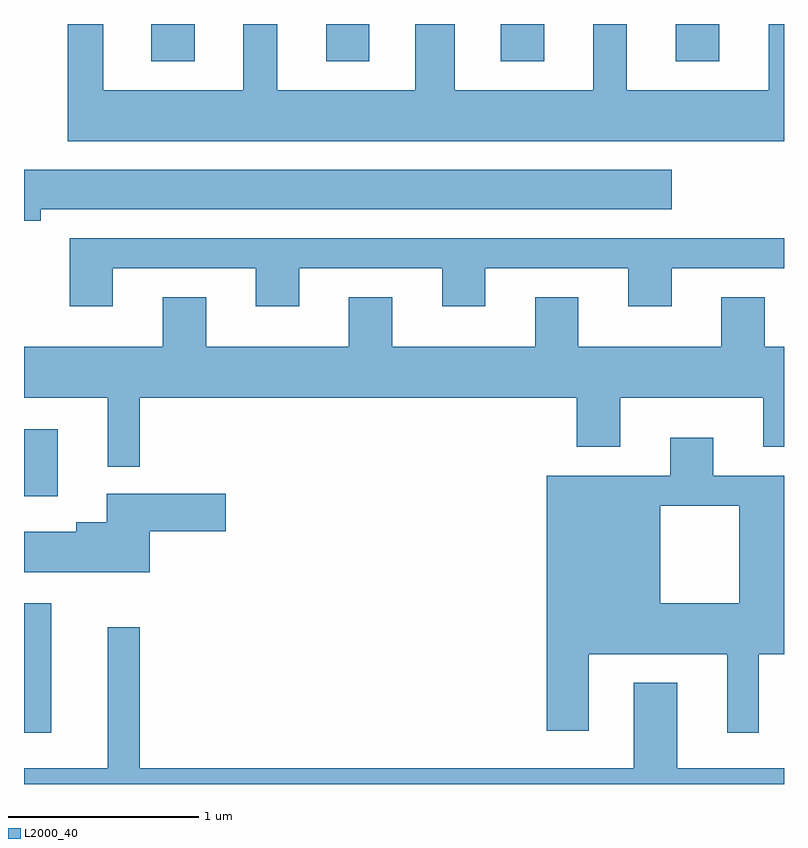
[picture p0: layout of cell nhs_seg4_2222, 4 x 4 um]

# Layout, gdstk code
import gdstk
lib = gdstk.Library(unit=1e-6, precision=1e-09)
def R(c, l, rs):  # rectangles x0, y0, x1, y1
    for r in rs: c.add(gdstk.rectangle(r[:2], r[2:], *l))
def A(c, l, x, y, w, h, nx, ny, dx, dy):  # array of equal rectangles
    R(c, l, [(x+i*dx, y+j*dy, x+i*dx+w, y+j*dy+h) for i in range(nx) for j in range(ny)])
def P(c, l, *ps):  # polygons
    for p in ps: c.add(gdstk.Polygon(p, *l))
L2000_40 = (2000, 40)

nhs_seg4_2222 = lib.new_cell('nhs_seg4_2222')
A(nhs_seg4_2222, L2000_40, 250.281, 1349.786, 0.228, 0.196, 4, 1, 0.92, 0)
R(nhs_seg4_2222, L2000_40, [(249.611,1346.253,249.754,1346.934), (249.611,1347.496,249.789,1347.849)])
P(nhs_seg4_2222, L2000_40, [(253.611,1349.982),(253.531,1349.982),(253.531,1349.634),(252.784,1349.634),(252.784,1349.982),(252.606,1349.982),(252.606,1349.634),(251.879,1349.634),(251.879,1349.982),(251.671,1349.982),(251.671,1349.634),(250.944,1349.634),(250.944,1349.982),(250.766,1349.982),(250.766,1349.634),(250.029,1349.634),(250.029,1349.982),(249.841,1349.982),(249.841,1349.366),(253.611,1349.366)],
  [(249.699,1349.006),(253.019,1349.006),(253.019,1349.214),(249.611,1349.214),(249.611,1348.946),(249.699,1348.946)],
  [(250.079,1348.696),(250.831,1348.696),(250.831,1348.496),(251.059,1348.496),(251.059,1348.696),(251.811,1348.696),(251.811,1348.496),(252.039,1348.496),(252.039,1348.696),(252.791,1348.696),(252.791,1348.496),(253.019,1348.496),(253.019,1348.696),(253.611,1348.696),(253.611,1348.854),(249.851,1348.854),(249.851,1348.496),(250.079,1348.496)],
  [(250.219,1348.016),(252.521,1348.016),(252.521,1347.756),(252.749,1347.756),(252.749,1348.016),(253.501,1348.016),(253.501,1347.756),(253.611,1347.756),(253.611,1348.284),(253.509,1348.284),(253.509,1348.544),(253.281,1348.544),(253.281,1348.284),(252.529,1348.284),(252.529,1348.544),(252.301,1348.544),(252.301,1348.284),(251.549,1348.284),(251.549,1348.544),(251.321,1348.544),(251.321,1348.284),(250.569,1348.284),(250.569,1348.544),(250.341,1348.544),(250.341,1348.284),(249.611,1348.284),(249.611,1348.016),(250.051,1348.016),(250.051,1347.653),(250.219,1347.653)],
  [(252.584,1346.261),(252.584,1346.666),(253.311,1346.666),(253.311,1346.253),(253.479,1346.253),(253.479,1346.666),(253.611,1346.666),(253.611,1347.604),(253.239,1347.604),(253.239,1347.804),(253.011,1347.804),(253.011,1347.604),(252.361,1347.604),(252.361,1346.934),(252.959,1346.934),(252.959,1347.446),(253.376,1347.446),(253.376,1346.934),(252.959,1346.934),(252.361,1346.934),(252.361,1346.261)],
  [(250.274,1347.311),(250.674,1347.311),(250.674,1347.509),(250.046,1347.509),(250.046,1347.359),(249.886,1347.359),(249.886,1347.309),(249.611,1347.309),(249.611,1347.096),(250.274,1347.096)],
  [(253.611,1346.064),(253.049,1346.064),(253.049,1346.514),(252.821,1346.514),(252.821,1346.064),(250.219,1346.064),(250.219,1346.808),(250.051,1346.808),(250.051,1346.064),(249.611,1346.064),(249.611,1345.982),(253.611,1345.982)])

lib.write_gds('nhs_seg4_2222.gds')
